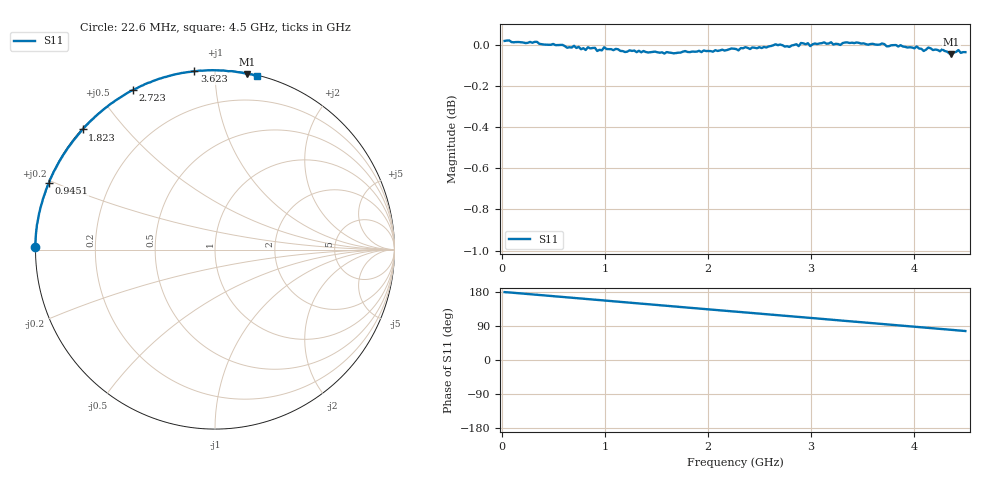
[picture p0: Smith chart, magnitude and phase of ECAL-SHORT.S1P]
!Agilent Technologies,E5071C,MY46101151,A.11.34
!Date: Mon Sep 17 22:36:44 2018
!Data & Calibration Information:
!Freq	S22:SOLT2(ON)
!PortZ  Port2:50+j0
!Above PortZ is port z conversion or system Z0 setting when saving the data.
!When reading, reference impedance value at option line is always used.
# Hz S dB R 50
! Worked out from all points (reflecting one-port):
!   200 points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, 22.6 MHz to 4.5 GHz, reference 50 ohm
!   lowest |S11| = 0.0 dB at 4.365 GHz (marker M1), VSWR 376.03, Z = 0.325 + j60.1 ohm
!   phase of S11 starts at 179 deg and turns -103 deg over the sweep
!   S11 on the Smith chart (normalised r, x): 22.6 MHz: -0.00, +0.01; 945.1 MHz: 0.00, +0.19; 1.823 GHz: 0.00, +0.39; 2.723 GHz: 0.00, +0.61; 3.623 GHz: -0.00, +0.89; 4.5 GHz: 0.01, +1.27
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2.25995e7  0.02 179.1
9.0098e7  0.01 177.8
3.15093e8  0.01 172.6
5.85087e8  -0.00 166.4
7.425835e8  -0.01 162.6
9.0008e8  -0.01 159.2
9.45079e8  -0.02 158.1
1.147574e9  -0.03 153.4
1.37257e9  -0.03 148.2
1.710062e9  -0.04 140.4
1.82256e9  -0.04 137.8
2.002556e9  -0.03 133.8
2.137552e9  -0.02 130.6
2.27255e9  -0.02 127.5
2.430046e9  -0.01 123.9
2.72254e9  -0.00 117.4
2.835037e9  -0.00 114.7
2.902536e9  0.01 113.1
2.970034e9  0.01 111.7
3.12753e9  0.01 108.0
3.397524e9  0.01 101.8
3.62252e9  0.00 96.6
3.825015e9  -0.00 92.0
3.960012e9  -0.01 88.8
4.140008e9  -0.01 84.7
4.275005e9  -0.02 81.6
4.365003e9  -0.05 79.6
4.5e9  -0.04 76.4
